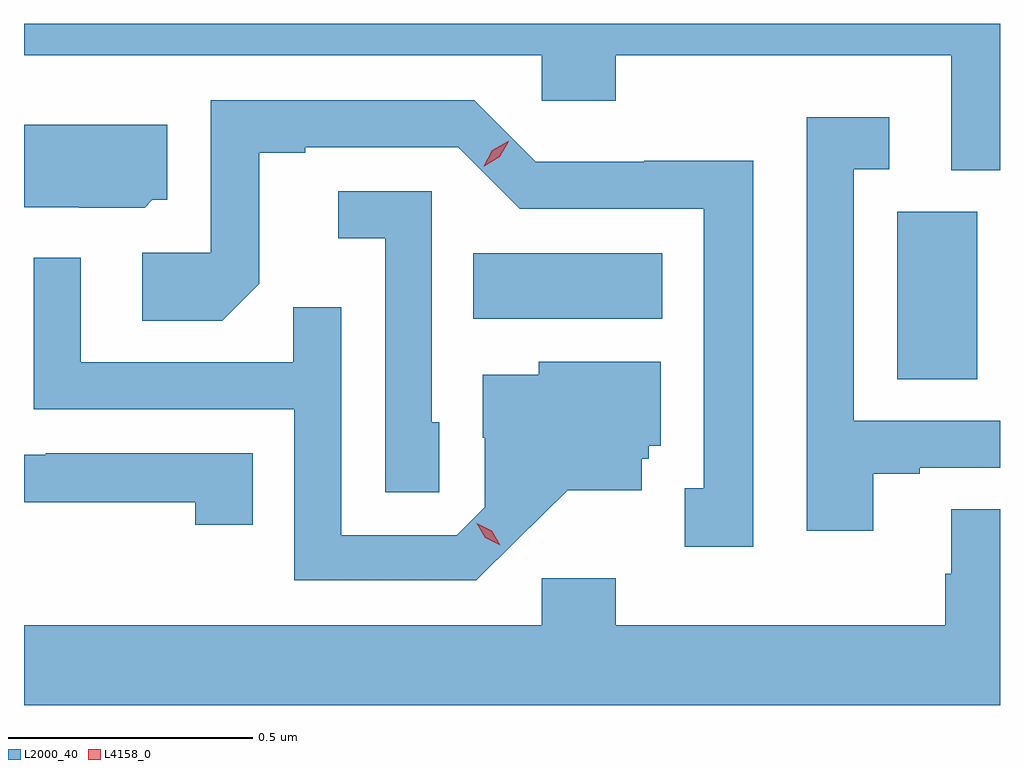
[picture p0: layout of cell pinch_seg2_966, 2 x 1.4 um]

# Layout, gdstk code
import gdstk
lib = gdstk.Library(unit=1e-6, precision=1e-09)
def R(c, l, rs):  # rectangles x0, y0, x1, y1
    for r in rs: c.add(gdstk.rectangle(r[:2], r[2:], *l))
def P(c, l, *ps):  # polygons
    for p in ps: c.add(gdstk.Polygon(p, *l))
L2000_40 = (2000, 40)
L4158_0 = (4158, 0)

pinch_seg2_966 = lib.new_cell('pinch_seg2_966')
R(pinch_seg2_966, L2000_40, [(318.944,658.96,319.108,659.304), (318.076,659.084,318.463,659.218)])
P(pinch_seg2_966, L2000_40, [(319.155,659.689),(317.155,659.689),(317.155,659.624),(318.216,659.624),(318.216,659.531),(318.368,659.531),(318.368,659.624),(319.055,659.624),(319.055,659.389),(319.155,659.389)],
  [(318.649,659.408),(318.426,659.408),(318.426,659.406),(318.204,659.406),(318.078,659.532),(317.538,659.532),(317.538,659.22),(317.397,659.22),(317.397,659.08),(317.561,659.08),(317.637,659.156),(317.637,659.424),(317.731,659.424),(317.731,659.436),(318.045,659.436),(318.171,659.31),(318.548,659.31),(318.548,658.737),(318.509,658.737),(318.509,658.617),(318.649,658.617)],
  [(318.895,658.767),(318.991,658.767),(318.991,658.779),(319.155,658.779),(319.155,658.875),(318.855,658.875),(318.855,659.391),(318.928,659.391),(318.928,659.497),(318.759,659.497),(318.759,658.65),(318.895,658.65)],
  [(317.418,659.328),(317.449,659.328),(317.449,659.482),(317.155,659.482),(317.155,659.313),(317.268,659.313),(317.268,659.312),(317.402,659.312)],
  [(318.006,658.872),(317.991,658.872),(317.991,659.346),(317.799,659.346),(317.799,659.249),(317.895,659.249),(317.895,658.729),(318.006,658.729)],
  [(318.166,658.631),(318.269,658.733),(318.421,658.733),(318.421,658.797),(318.435,658.797),(318.435,658.824),(318.46,658.824),(318.46,658.996),(318.21,658.996),(318.21,658.969),(318.095,658.969),(318.095,658.84),(318.099,658.84),(318.099,658.698),(318.042,658.641),(317.805,658.641),(317.805,659.108),(317.707,659.108),(317.707,658.995),(317.271,658.995),(317.271,659.209),(317.175,659.209),(317.175,658.899),(317.709,658.899),(317.709,658.548),(318.082,658.548)],
  [(317.624,658.809),(317.2,658.809),(317.2,658.806),(317.155,658.806),(317.155,658.708),(317.506,658.708),(317.506,658.662),(317.624,658.662)],
  [(319.155,658.694),(319.055,658.694),(319.055,658.562),(319.043,658.562),(319.043,658.456),(318.368,658.456),(318.368,658.552),(318.216,658.552),(318.216,658.456),(317.155,658.456),(317.155,658.292),(319.155,658.292)])
P(pinch_seg2_966, L4158_0, [(318.097,659.397),(318.097,659.397),(318.115,659.43),(318.147,659.448),(318.148,659.448),(318.148,659.448),(318.13,659.416),(318.098,659.397)],
  [(318.131,658.62),(318.1,658.635),(318.083,658.665),(318.083,658.665),(318.083,658.665),(318.114,658.65),(318.131,658.62),(318.131,658.62)])

lib.write_gds('pinch_seg2_966.gds')
